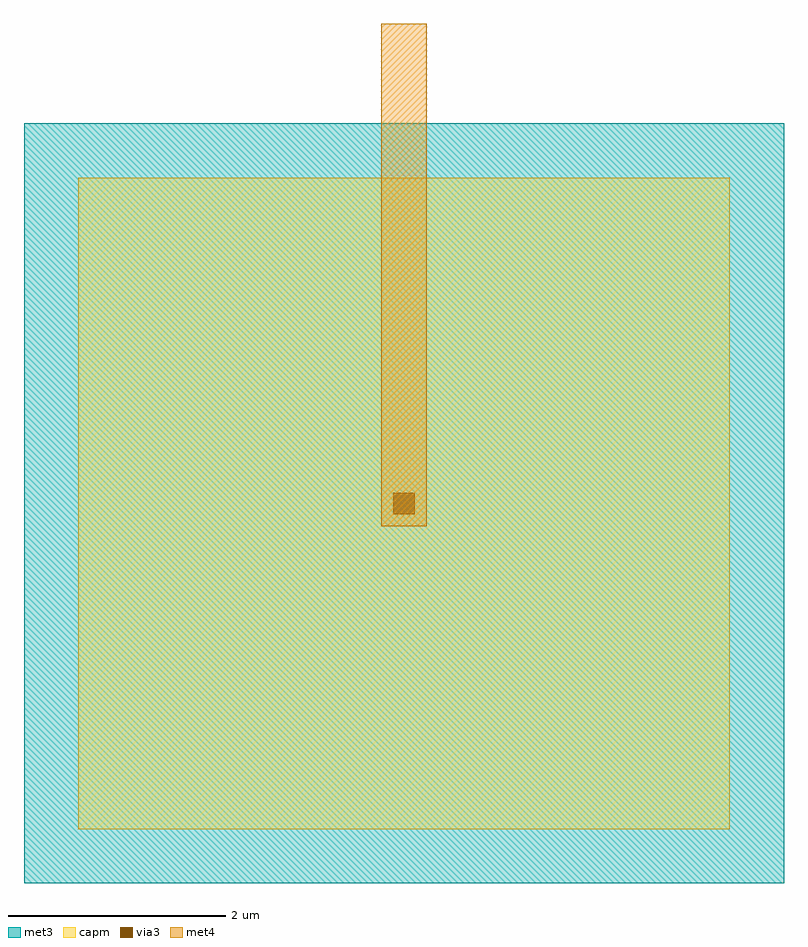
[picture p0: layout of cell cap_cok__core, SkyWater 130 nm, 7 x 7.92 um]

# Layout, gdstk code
import gdstk
lib = gdstk.Library(unit=1e-6, precision=1e-09)
def R(c, l, rs):  # rectangles x0, y0, x1, y1
    for r in rs: c.add(gdstk.rectangle(r[:2], r[2:], *l))
met3 = (70, 20)
via3 = (70, 44)
met4 = (71, 20)
capm = (89, 44)

cap_cok__core = lib.new_cell('cap_cok__core')
R(cap_cok__core, met3, [(0,0,7,7)])
R(cap_cok__core, via3, [(3.4,3.4,3.6,3.6)])
R(cap_cok__core, met4, [(3.29,3.29,3.71,3.71), (3.29,3.71,3.71,7.5), (3.29,7.5,3.71,7.92)])
R(cap_cok__core, capm, [(0.5,0.5,6.5,6.5)])

lib.write_gds('cap_cok__core.gds')
